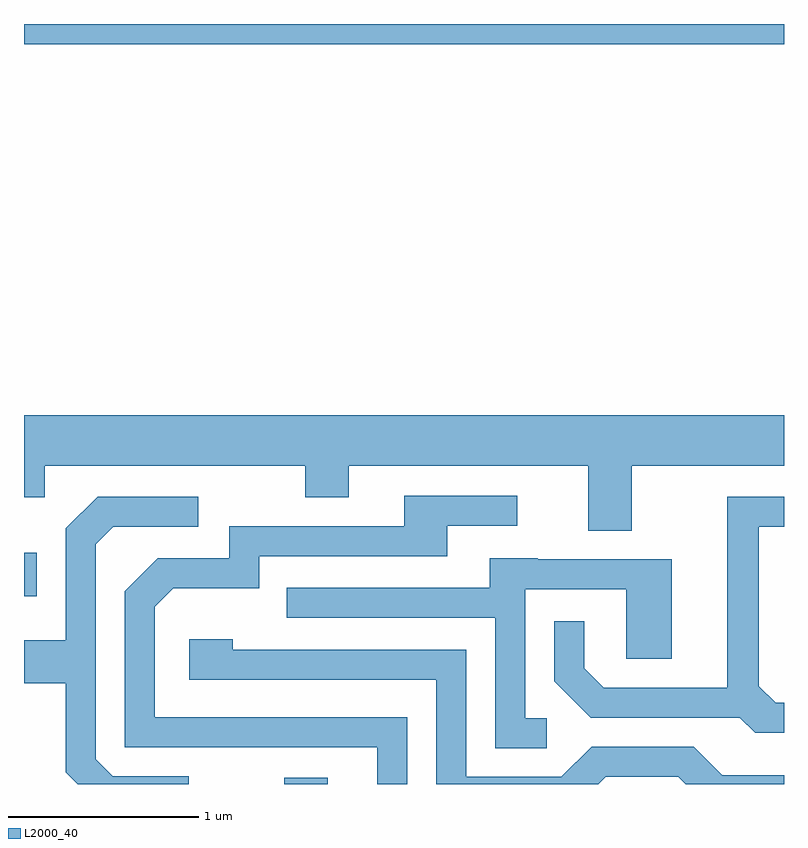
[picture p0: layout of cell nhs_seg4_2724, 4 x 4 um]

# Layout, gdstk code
import gdstk
lib = gdstk.Library(unit=1e-6, precision=1e-09)
def R(c, l, rs):  # rectangles x0, y0, x1, y1
    for r in rs: c.add(gdstk.rectangle(r[:2], r[2:], *l))
def P(c, l, *ps):  # polygons
    for p in ps: c.add(gdstk.Polygon(p, *l))
L2000_40 = (2000, 40)

nhs_seg4_2724 = lib.new_cell('nhs_seg4_2724')
R(nhs_seg4_2724, L2000_40, [(266.981,1261.982,267.209,1262.014), (265.611,1262.971,265.679,1263.199), (265.611,1265.876,269.611,1265.982)])
P(nhs_seg4_2724, L2000_40, [(268.809,1263.656),(269.611,1263.656),(269.611,1263.924),(265.611,1263.924),(265.611,1263.491),(265.719,1263.491),(265.719,1263.656),(267.091,1263.656),(267.091,1263.491),(267.319,1263.491),(267.319,1263.656),(268.581,1263.656),(268.581,1263.316),(268.809,1263.316)],
  [(267.629,1262.334),(266.299,1262.334),(266.299,1262.914),(266.397,1263.011),(266.849,1263.011),(266.849,1263.181),(267.839,1263.181),(267.839,1263.341),(268.208,1263.341),(268.208,1263.499),(267.611,1263.499),(267.611,1263.339),(266.691,1263.339),(266.691,1263.169),(266.314,1263.169),(266.141,1262.997),(266.141,1262.176),(267.471,1262.176),(267.471,1261.982),(267.629,1261.982)],
  [(269.611,1262.409),(269.567,1262.409),(269.479,1262.497),(269.479,1263.336),(269.611,1263.336),(269.611,1263.494),(269.311,1263.494),(269.311,1262.489),(268.662,1262.489),(268.559,1262.592),(268.559,1262.838),(268.401,1262.838),(268.401,1262.524),(268.594,1262.331),(269.379,1262.331),(269.459,1262.251),(269.611,1262.251)],
  [(266.478,1262.024),(266.077,1262.024),(265.989,1262.112),(265.989,1263.244),(266.082,1263.336),(266.528,1263.336),(266.528,1263.494),(265.999,1263.494),(265.831,1263.327),(265.831,1262.739),(265.611,1262.739),(265.611,1262.511),(265.831,1262.511),(265.831,1262.044),(265.893,1261.982),(266.478,1261.982)],
  [(268.363,1262.329),(268.249,1262.329),(268.249,1263.006),(268.781,1263.006),(268.781,1262.641),(269.019,1262.641),(269.019,1263.164),(268.315,1263.164),(268.315,1263.169),(268.061,1263.169),(268.061,1263.014),(266.993,1263.014),(266.993,1262.856),(268.091,1262.856),(268.091,1262.171),(268.363,1262.171)],
  [(268.672,1262.021),(269.054,1262.021),(269.093,1261.982),(269.611,1261.982),(269.611,1262.029),(269.287,1262.029),(269.137,1262.179),(268.599,1262.179),(268.439,1262.019),(267.939,1262.019),(267.939,1262.689),(266.709,1262.689),(266.709,1262.744),(266.481,1262.744),(266.481,1262.531),(267.781,1262.531),(267.781,1261.982),(268.633,1261.982)])

lib.write_gds('nhs_seg4_2724.gds')
